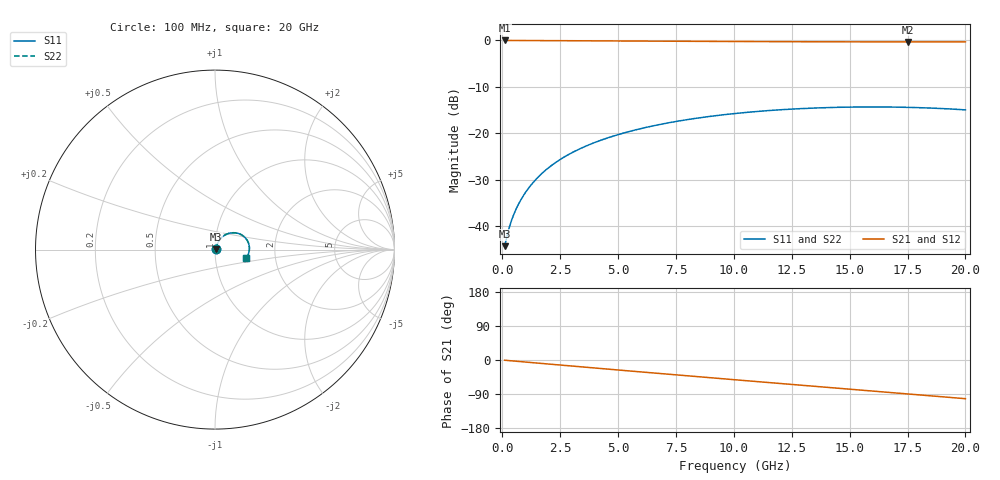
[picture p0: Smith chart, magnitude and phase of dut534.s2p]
! Touchstone file exported from HFSS 2026.1.0
!  File:  C:/ffzhzh/LocalFiles/Ansys_Project_Files/temp_train_TSV_RDL_534_1783112365_46604.aedt
!  Generated:  05:10:57 AM Jul  4, 2026
!  Design:  TSV_RDL
!  Project:  temp_train_TSV_RDL_534_1783112365_46604
! Variables:
!  h_bsmrdl = 3.09um
!  h_ox = 20um
!  h_rdl = 5um
!  h_sub = 81.01um
!  h_tmrdl = 5.26um
!  h_tsv = 81.01um
!  h_via = 3um
!  l_bsmrdl = 177.38um
!  l_sub = 1554.18um
!  l_tmrdl = 121.34um
!  m_sub = 200um
!  pitch = 38.27um
!  r_tsv = 10.83um
!  s_tmrdl = 10um
!  w_bsmrdl = 22.28um
!  w_sub = 500um
!  w_tmrdl = 23.28um
!  x_tsv_center1 = 132.98um
!  x_tsv_center2 = 332.64um
!  x_tsv_center3 = 477.26um
!  x_tsv_center4 = 676.92um
!  x_tsv_center5 = 821.54um
!  x_tsv_center6 = 1021.2um
# GHz S MA R 50.000000
! Terminal data exported
! Port[1] = TM_RDL1_1_T1
! Port[2] = TM_RDL5_1_T1
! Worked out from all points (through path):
!   200 points, 100 MHz to 20 GHz, reference 50 ohm
!   highest |S21| = -0.05 dB at 100 MHz (marker M1); lowest = -0.4 dB at 17.5 GHz (marker M2)
!   group delay of S21, straight-line fit = 14.1 ps
!   lowest |S11| = -44.3 dB at 100 MHz (marker M3), VSWR 1.01, Z = 50.6 + j0.263 ohm
!   |S11| at or under -10 dB: start of sweep to end of sweep
!   |S22| runs from -44.3 to -14.3 dB; largest |S21 - S12| = 1.2e-13
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0.1  0.006124 25.1  0.9945 -0.6  0.9945 -0.6  0.006124 25.1
! Gamma 0 0 0 0
! Port Impedance 50 0 50 0
0.3  0.009696 48.3  0.9937 -1.7  0.9937 -1.7  0.009696 48.3
0.4  0.01161 53.3  0.9934 -2.2  0.9934 -2.2  0.01161 53.3
0.5  0.01351 56.7  0.9931 -2.7  0.9931 -2.7  0.01351 56.7
0.6  0.0154 59.3  0.9928 -3.3  0.9928 -3.3  0.0154 59.3
0.8  0.01922 62.9  0.9924 -4.3  0.9924 -4.3  0.01922 62.9
1.2  0.027 66.4  0.9917 -6.5  0.9917 -6.5  0.027 66.4
1.7  0.03682 67.4  0.9908 -9.1  0.9908 -9.1  0.03682 67.4
2.2  0.04655 66.8  0.9897 -11.7  0.9897 -11.7  0.04655 66.8
2.8  0.05797 65.1  0.9882 -14.9  0.9882 -14.9  0.05797 65.1
3.5  0.07086 62.5  0.9865 -18.6  0.9865 -18.6  0.07086 62.5
4.2  0.08325 59.6  0.9846 -22.2  0.9846 -22.2  0.08325 59.6
5  0.09674 56.1  0.9823 -26.4  0.9823 -26.4  0.09674 56.1
6.8  0.1243 47.7  0.9773 -35.6  0.9773 -35.6  0.1243 47.7
8.4  0.1453 40.1  0.9729 -43.8  0.9729 -43.8  0.1453 40.1
10.1  0.1636 32.0  0.9687 -52.4  0.9687 -52.4  0.1636 32.0
11.8  0.1776 23.8  0.9651 -61.0  0.9651 -61.0  0.1776 23.8
13.4  0.1865 16.1  0.9625 -69.0  0.9625 -69.0  0.1865 16.1
15.1  0.1913 8.0  0.9607 -77.5  0.9607 -77.5  0.1913 8.0
16.7  0.1915 0.3  0.9598 -85.5  0.9598 -85.5  0.1915 0.3
17.5  0.1901 -3.6  0.9597 -89.5  0.9597 -89.5  0.19 -3.6
20  0.1786 -15.7  0.9606 -102.1  0.9606 -102.1  0.1786 -15.6
